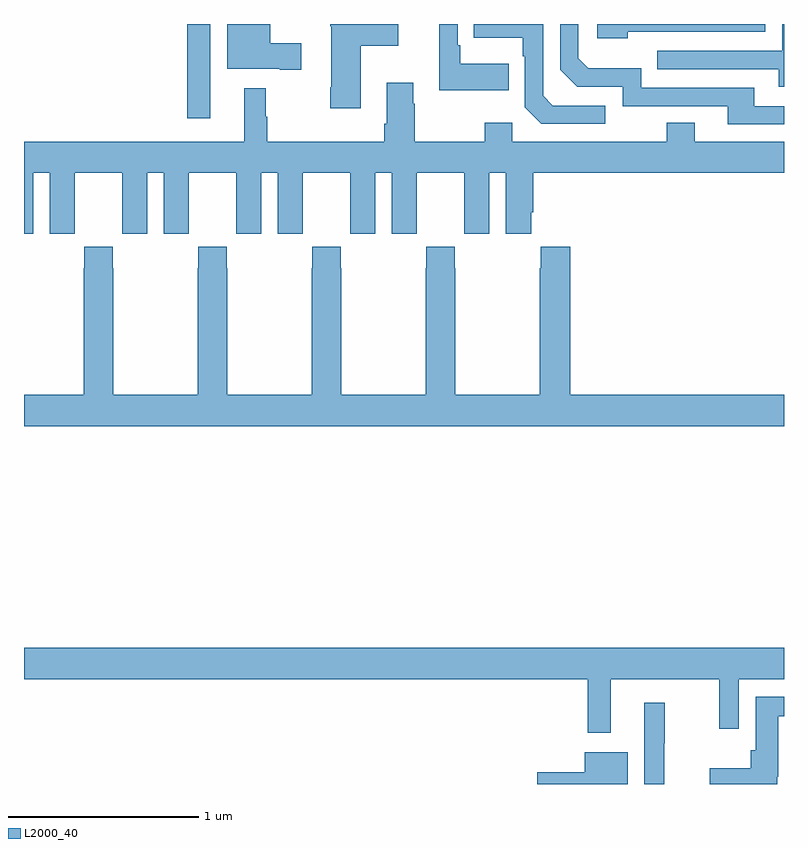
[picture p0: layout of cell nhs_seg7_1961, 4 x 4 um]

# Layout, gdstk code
import gdstk
lib = gdstk.Library(unit=1e-6, precision=1e-09)
def R(c, l, rs):  # rectangles x0, y0, x1, y1
    for r in rs: c.add(gdstk.rectangle(r[:2], r[2:], *l))
def P(c, l, *ps):  # polygons
    for p in ps: c.add(gdstk.Polygon(p, *l))
L2000_40 = (2000, 40)

nhs_seg7_1961 = lib.new_cell('nhs_seg7_1961')
R(nhs_seg7_1961, L2000_40, [(241.86,1067.505,241.981,1068)])
P(nhs_seg7_1961, L2000_40, [(243.551,1067.791),(243.295,1067.791),(243.295,1067.887),(243.282,1067.887),(243.282,1068),(243.185,1068),(243.185,1067.651),(243.551,1067.651)],
  [(244.178,1067.958),(244.902,1067.958),(244.902,1068),(244.017,1068),(244.017,1067.924),(244.178,1067.924)],
  [(245,1068),(244.992,1068),(244.992,1067.859),(244.333,1067.859),(244.333,1067.763),(244.973,1067.763),(244.973,1067.669),(245,1067.669)],
  [(242.773,1067.885),(242.971,1067.885),(242.971,1068),(242.611,1068),(242.611,1067.989),(242.618,1067.989),(242.618,1067.668),(242.611,1067.668),(242.611,1067.556),(242.773,1067.556)],
  [(244.06,1067.571),(243.783,1067.571),(243.732,1067.622),(243.732,1068),(243.367,1068),(243.367,1067.927),(243.624,1067.927),(243.624,1067.831),(243.636,1067.831),(243.636,1067.562),(243.723,1067.475),(244.06,1067.475)],
  [(242.458,1067.9),(242.296,1067.9),(242.296,1068),(242.069,1068),(242.069,1067.765),(242.345,1067.765),(242.345,1067.758),(242.458,1067.758)],
  [(245,1067.568),(244.843,1067.568),(244.843,1067.664),(244.248,1067.664),(244.248,1067.767),(243.971,1067.767),(243.918,1067.82),(243.918,1068),(243.822,1068),(243.822,1067.76),(243.912,1067.67),(244.152,1067.67),(244.152,1067.568),(244.703,1067.568),(244.703,1067.472),(245,1067.472)],
  [(241.048,1067.216),(241.136,1067.216),(241.136,1066.896),(241.266,1066.896),(241.266,1067.008),(241.267,1067.008),(241.267,1067.216),(241.517,1067.216),(241.517,1067.008),(241.518,1067.008),(241.518,1066.896),(241.648,1066.896),(241.648,1067.216),(241.736,1067.216),(241.736,1066.896),(241.866,1066.896),(241.866,1067.008),(241.867,1067.008),(241.867,1067.216),(242.117,1067.216),(242.117,1067.008),(242.118,1067.008),(242.118,1066.896),(242.248,1066.896),(242.248,1067.216),(242.336,1067.216),(242.336,1066.896),(242.466,1066.896),(242.466,1067.008),(242.467,1067.008),(242.467,1067.216),(242.717,1067.216),(242.717,1067.008),(242.718,1067.008),(242.718,1066.896),(242.848,1066.896),(242.848,1067.216),(242.936,1067.216),(242.936,1066.896),(243.066,1066.896),(243.066,1067.008),(243.067,1067.008),(243.067,1067.216),(243.317,1067.216),(243.317,1067.008),(243.318,1067.008),(243.318,1066.896),(243.448,1066.896),(243.448,1067.216),(243.536,1067.216),(243.536,1066.896),(243.67,1066.896),(243.67,1067.008),(243.68,1067.008),(243.68,1067.216),(245,1067.216),(245,1067.38),(244.531,1067.38),(244.531,1067.479),(244.384,1067.479),(244.384,1067.38),(243.57,1067.38),(243.57,1067.479),(243.424,1067.479),(243.424,1067.38),(243.057,1067.38),(243.057,1067.579),(243.049,1067.579),(243.049,1067.692),(242.909,1067.692),(242.909,1067.476),(242.897,1067.476),(242.897,1067.38),(242.281,1067.38),(242.281,1067.513),(242.273,1067.513),(242.273,1067.662),(242.159,1067.662),(242.159,1067.38),(241,1067.38),(241,1066.896),(241.048,1066.896)],
  [(245,1066.048),(243.875,1066.048),(243.875,1066.828),(243.721,1066.828),(243.721,1066.715),(243.715,1066.715),(243.715,1066.048),(243.27,1066.048),(243.27,1066.715),(243.267,1066.715),(243.267,1066.828),(243.117,1066.828),(243.117,1066.715),(243.115,1066.715),(243.115,1066.048),(242.67,1066.048),(242.67,1066.715),(242.667,1066.715),(242.667,1066.828),(242.517,1066.828),(242.517,1066.715),(242.515,1066.715),(242.515,1066.048),(242.07,1066.048),(242.07,1066.715),(242.067,1066.715),(242.067,1066.828),(241.917,1066.828),(241.917,1066.715),(241.915,1066.715),(241.915,1066.048),(241.47,1066.048),(241.47,1066.715),(241.467,1066.715),(241.467,1066.828),(241.317,1066.828),(241.317,1066.715),(241.315,1066.715),(241.315,1066.048),(241,1066.048),(241,1065.884),(245,1065.884)],
  [(244.087,1064.552),(244.66,1064.552),(244.66,1064.292),(244.761,1064.292),(244.761,1064.552),(245,1064.552),(245,1064.716),(241,1064.716),(241,1064.552),(243.966,1064.552),(243.966,1064.271),(244.087,1064.271)],
  [(244.965,1064.038),(244.969,1064.038),(244.969,1064.357),(245,1064.357),(245,1064.458),(244.85,1064.458),(244.85,1064.178),(244.825,1064.178),(244.825,1064.083),(244.608,1064.083),(244.608,1064),(244.965,1064)],
  [(244.369,1064.215),(244.372,1064.215),(244.372,1064.428),(244.265,1064.428),(244.265,1064),(244.369,1064)],
  [(244.177,1064.167),(243.95,1064.167),(243.95,1064.061),(243.702,1064.061),(243.702,1064),(244.177,1064)])

lib.write_gds('nhs_seg7_1961.gds')
